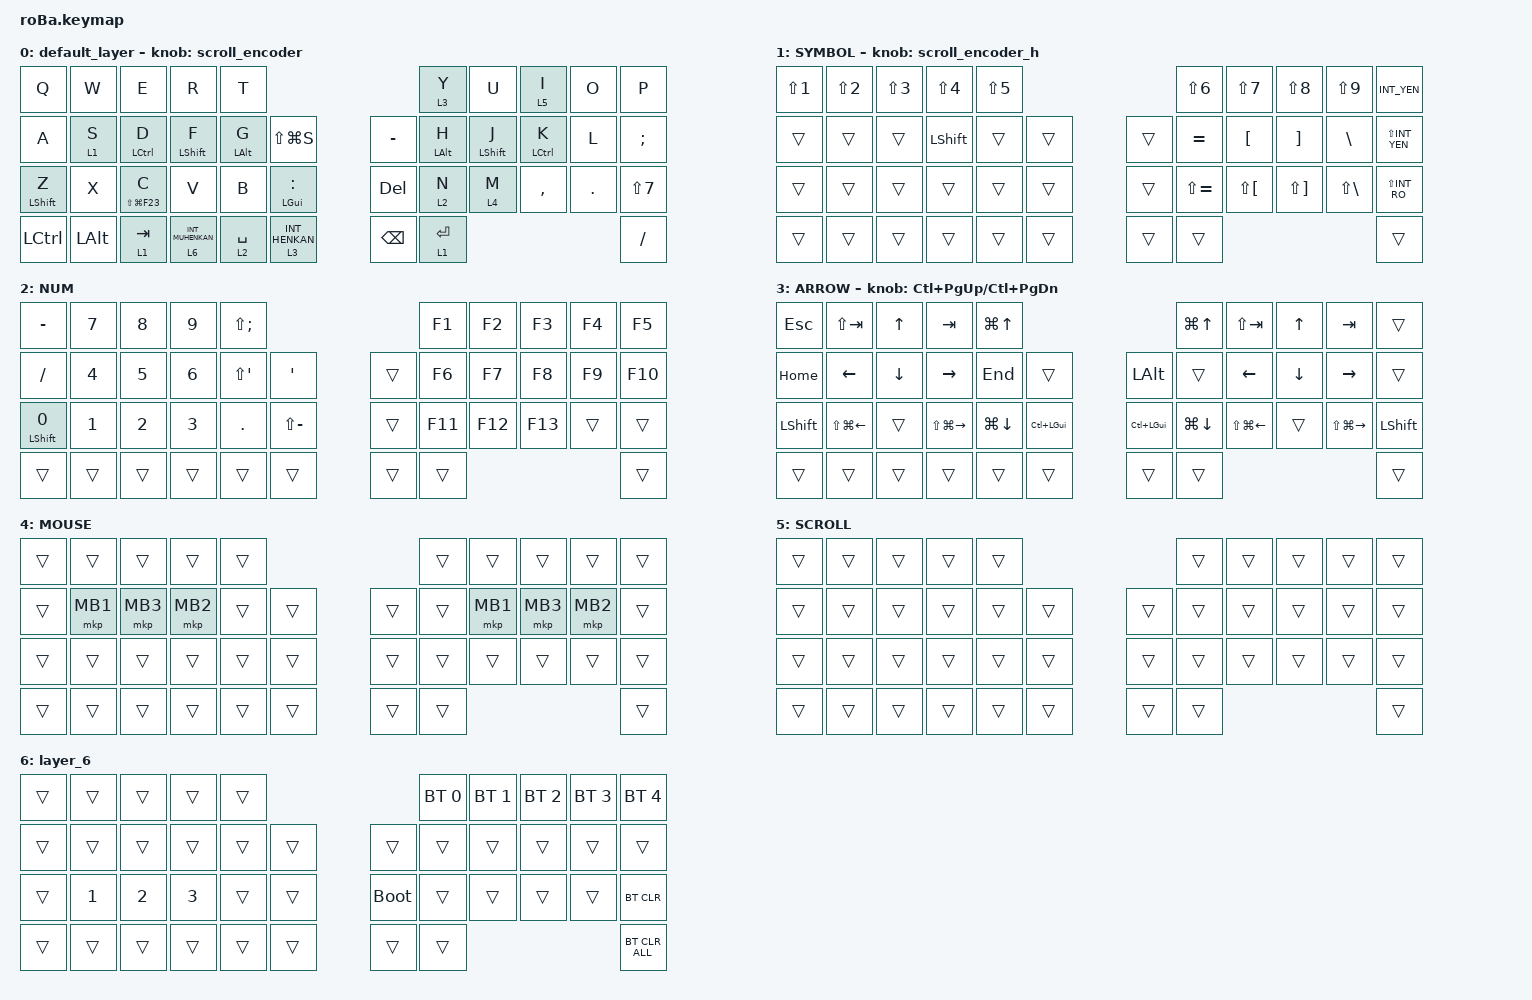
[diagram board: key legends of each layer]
#define ZMK_POINTING_DEFAULT_SCRL_VAL 80

#include <behaviors.dtsi>
#include <dt-bindings/zmk/bt.h>
#include <dt-bindings/zmk/keys.h>
#include <dt-bindings/zmk/pointing.h>

// ==========================================
// Windows 11 日本語配列 (JIS 106/109)
// ==========================================
// --- 日本語入力キー ---

#define JP_HANZEN       GRAVE           // 半角/全角
#define JP_KANA         INT_KANA        // カタカナ/ひらがな
#define JP_HENKAN       INT_HENKAN      // 変換
#define JP_MUHENKAN     INT_MUHENKAN    // 無変換

// --- 数字・Shift記号 ---

#define JP_DQUOTE       LS(N2)          // "
#define JP_AMPERSAND    LS(N6)          // &
#define JP_QUOTE        LS(N7)          // '
#define JP_LPAREN       LS(N8)          // (
#define JP_RPAREN       LS(N9)          // )

// --- 記号 ---

#define JP_EXCLAMATION  LS(N1)          // !
#define JP_HASH         LS(N3)          // #
#define JP_DOLLAR       LS(N4)          // $
#define JP_PERCENT      LS(N5)          // %
#define JP_EQUAL        LS(MINUS)       // =
#define JP_PLUS         LS(SEMICOLON)   // +
#define JP_ASTERISK     LS(SQT)         // *
#define JP_COLON        SQT             // :
#define JP_SEMICOLON    SEMICOLON       // ;
#define JP_AT           LBKT            // @
#define JP_CARET        EQUAL           // ^
#define JP_TILDE        LS(EQUAL)       // ~
#define JP_BACKQUOTE    LS(LBKT)        // `

// --- 括弧 ---

#define JP_LBRACKET     RBKT            // [
#define JP_RBRACKET     BSLH            // ]
#define JP_LBRACE       LS(RBKT)        // {
#define JP_RBRACE       LS(BSLH)        // }

// --- 円記号・バックスラッシュ ---

#define JP_YEN          INT_YEN         // ￥
#define JP_BACKSLASH    INT_YEN         // バックスラッシュ
#define JP_PIPE         LS(INT_YEN)     // |
#define JP_UNDERSCORE   LS(INT_RO)      // _

// ==========================================
// ここから既存のroBa設定
// ==========================================

&mt {
    flavor = "balanced";
    quick-tap-ms = <0>;
};

&trackball {
    automouse-layer = <4>;
    scroll-layers = <5>;

    // arrows {
    //     layers = <3>;
    //     bindings =
    //         <&kp RIGHT_ARROW>,
    //         <&kp LEFT_ARROW>,
    //         <&kp UP_ARROW>,
    //         <&kp DOWN_ARROW>;
    //     tick = <10>;
    //     wait-ms = <5>;
    //     tap-ms = <5>;
    // };
};

/ {
    combos {
        compatible = "zmk,combos";

        tab {
            bindings = <&kp TAB>;
            key-positions = <11 12>;
        };

        shift_tab {
            bindings = <&kp LS(TAB)>;
            key-positions = <12 13>;
        };

        muhennkann {
            bindings = <&to_layer_0 INT_MUHENKAN>;
            key-positions = <11 10>;
        };

        double_quotation {
            bindings = <&kp LS(N2)>;
            key-positions = <33 22>;
            layers = <0>;
        };

        eq {
            bindings = <&kp EQUAL>;
            key-positions = <24 25>;
        };

        hankaku {
            bindings = <&kp GRAVE>;
            key-positions = <0 1>;
        };

        colon {
            bindings = <&kp SQT>;
            key-positions = <22 21>;
            layers = <0>;
        };

        question {
            bindings = <&kp QUESTION>;
            key-positions = <22 42>;
            layers = <0>;
        };

        less_than {
            bindings = <&kp LESS_THAN>;
            key-positions = <22 31>;
            layers = <0>;
        };

        greater_than {
            bindings = <&kp GREATER_THAN>;
            key-positions = <22 32>;
            layers = <0>;
        };

        up {
            bindings = <&kp UP>;
            key-positions = <7 8>;
        };

        down {
            bindings = <&kp DOWN>;
            key-positions = <31 32>;
        };

        right {
            bindings = <&kp RIGHT>;
            key-positions = <19 20>;
        };

        left {
            bindings = <&kp LEFT>;
            key-positions = <19 18>;
        };
    };

    macros {
        to_layer_0: to_layer_0 {
            compatible = "zmk,behavior-macro-one-param";
            #binding-cells = <1>;
            bindings = <&to 0 &macro_param_1to1 &kp MACRO_PLACEHOLDER>;
            label = "TO_LAYER_0";
        };
    };

    behaviors {
        lt_to_layer_0: lt_to_layer_0 {
            compatible = "zmk,behavior-hold-tap";
            label = "LAYER_TAP_TO_0";
            bindings = <&mo>, <&to_layer_0>;

            #binding-cells = <2>;
            tapping-term-ms = <200>;
        };

        scroll_encoder: scroll_encoder {
            compatible = "zmk,behavior-sensor-rotate";
            label = "SCROLL_ENCODER";
            #sensor-binding-cells = <0>;
            bindings = <&msc SCRL_UP>, <&msc SCRL_DOWN>;

            tap-ms = <20>;
        };

        scroll_encoder_h: scroll_encoder_h {
            compatible = "zmk,behavior-sensor-rotate";
            label = "SCROLL_ENCODER_H";
            #sensor-binding-cells = <0>;
            bindings = <&msc SCRL_LEFT>, <&msc SCRL_RIGHT>;

            tap-ms = <20>;
        };
    };

    keymap {
        compatible = "zmk,keymap";

        default_layer {
            bindings = <
&kp Q             &kp W     &kp E              &kp R                          &kp T                                                        &lt 3 Y      &kp U        &lt 5 I      &kp O    &kp P
&kp A             &lt 1 S   &mt LCTRL D        &mt LSHFT F                    &mt LALT G   &kp LS(LG(S))                    &kp MINUS      &mt LALT H   &mt LSHFT J  &mt LCTRL K  &kp L    &kp SEMICOLON
&mt LEFT_SHIFT Z  &kp X     &mt LS(LG(F23)) C  &kp V                          &kp B        &mt LGUI COLON                   &kp DEL        &lt 2 N      &lt 4 M      &kp COMMA    &kp DOT  &kp LS(N7)
&kp LCTRL         &kp LALT  &lt 1 TAB          &lt_to_layer_0 6 INT_MUHENKAN  &lt 2 SPACE  &lt_to_layer_0 3 INT_HENKAN      &kp BACKSPACE  &lt 1 ENTER                                     &kp SLASH
            >;

            sensor-bindings = <&scroll_encoder>;
        };

        SYMBOL {
            bindings = <
&kp LS(N1)  &kp LS(N2)  &kp LS(N3)  &kp LS(N4)  &kp LS(N5)                      &kp LS(N6)     &kp LS(N7)    &kp LS(N8)    &kp LS(N9)    &kp INT_YEN
&trans      &trans      &trans      &kp LSHFT   &trans      &trans      &trans  &kp EQUAL      &kp LBKT      &kp RBKT      &kp BSLH      &kp LS(INT_YEN)
&trans      &trans      &trans      &trans      &trans      &trans      &trans  &kp LS(EQUAL)  &kp LS(LBKT)  &kp LS(RBKT)  &kp LS(BSLH)  &kp LS(INT_RO)
&trans      &trans      &trans      &trans      &trans      &trans      &trans  &trans                                                   &trans
            >;

            sensor-bindings = <&scroll_encoder_h>;
        };

        NUM {
            bindings = <
&kp MINUS          &kp N7  &kp N8  &kp N9  &kp LS(SEMICOLON)                             &kp F1   &kp F2   &kp F3   &kp F4  &kp F5
&kp SLASH          &kp N4  &kp N5  &kp N6  &kp LS(SQT)        &kp SQT            &trans  &kp F6   &kp F7   &kp F8   &kp F9  &kp F10
&mt LEFT_SHIFT N0  &kp N1  &kp N2  &kp N3  &kp PERIOD         &kp LS(MINUS)      &trans  &kp F11  &kp F12  &kp F13  &trans  &trans
&trans             &trans  &trans  &trans  &trans             &trans             &trans  &trans                             &trans
            >;
        };

        ARROW {
            bindings = <
&kp ESCAPE      &kp LS(TAB)       &kp UP_ARROW    &kp TAB            &kp LG(UP)                                    &kp LG(UP)    &kp LS(TAB)       &kp UP_ARROW    &kp TAB            &trans
&kp HOME        &kp LEFT_ARROW    &kp DOWN_ARROW  &kp RIGHT_ARROW    &kp END       &trans            &kp LALT      &trans        &kp LEFT_ARROW    &kp DOWN_ARROW  &kp RIGHT_ARROW    &trans
&kp LEFT_SHIFT  &kp LS(LG(LEFT))  &trans          &kp LS(LG(RIGHT))  &kp LG(DOWN)  &kp LC(LGUI)      &kp LC(LGUI)  &kp LG(DOWN)  &kp LS(LG(LEFT))  &trans          &kp LS(LG(RIGHT))  &kp LSHFT
&trans          &trans            &trans          &trans             &trans        &trans            &trans        &trans                                                             &trans
            >;

            sensor-bindings = <&inc_dec_kp LC(PAGE_UP) LC(PAGE_DOWN)>;
        };

        MOUSE {
            bindings = <
&trans  &trans    &trans    &trans    &trans                      &trans  &trans    &trans    &trans    &trans
&trans  &mkp MB1  &mkp MB3  &mkp MB2  &trans  &trans      &trans  &trans  &mkp MB1  &mkp MB3  &mkp MB2  &trans
&trans  &trans    &trans    &trans    &trans  &trans      &trans  &trans  &trans    &trans    &trans    &trans
&trans  &trans    &trans    &trans    &trans  &trans      &trans  &trans                                &trans
            >;
        };

        SCROLL {
            bindings = <
&trans  &trans  &trans  &trans  &trans                      &trans  &trans  &trans  &trans  &trans
&trans  &trans  &trans  &trans  &trans  &trans      &trans  &trans  &trans  &trans  &trans  &trans
&trans  &trans  &trans  &trans  &trans  &trans      &trans  &trans  &trans  &trans  &trans  &trans
&trans  &trans  &trans  &trans  &trans  &trans      &trans  &trans                          &trans
            >;
        };

        layer_6 {
            bindings = <
&trans  &trans        &trans        &trans        &trans                           &bt BT_SEL 0  &bt BT_SEL 1  &bt BT_SEL 2  &bt BT_SEL 3  &bt BT_SEL 4
&trans  &trans        &trans        &trans        &trans  &trans      &trans       &trans        &trans        &trans        &trans        &trans
&trans  &kp NUMBER_1  &kp NUMBER_2  &kp NUMBER_3  &trans  &trans      &bootloader  &trans        &trans        &trans        &trans        &bt BT_CLR
&trans  &trans        &trans        &trans        &trans  &trans      &trans       &trans                                                  &bt BT_CLR_ALL
            >;
        };
    };
};
